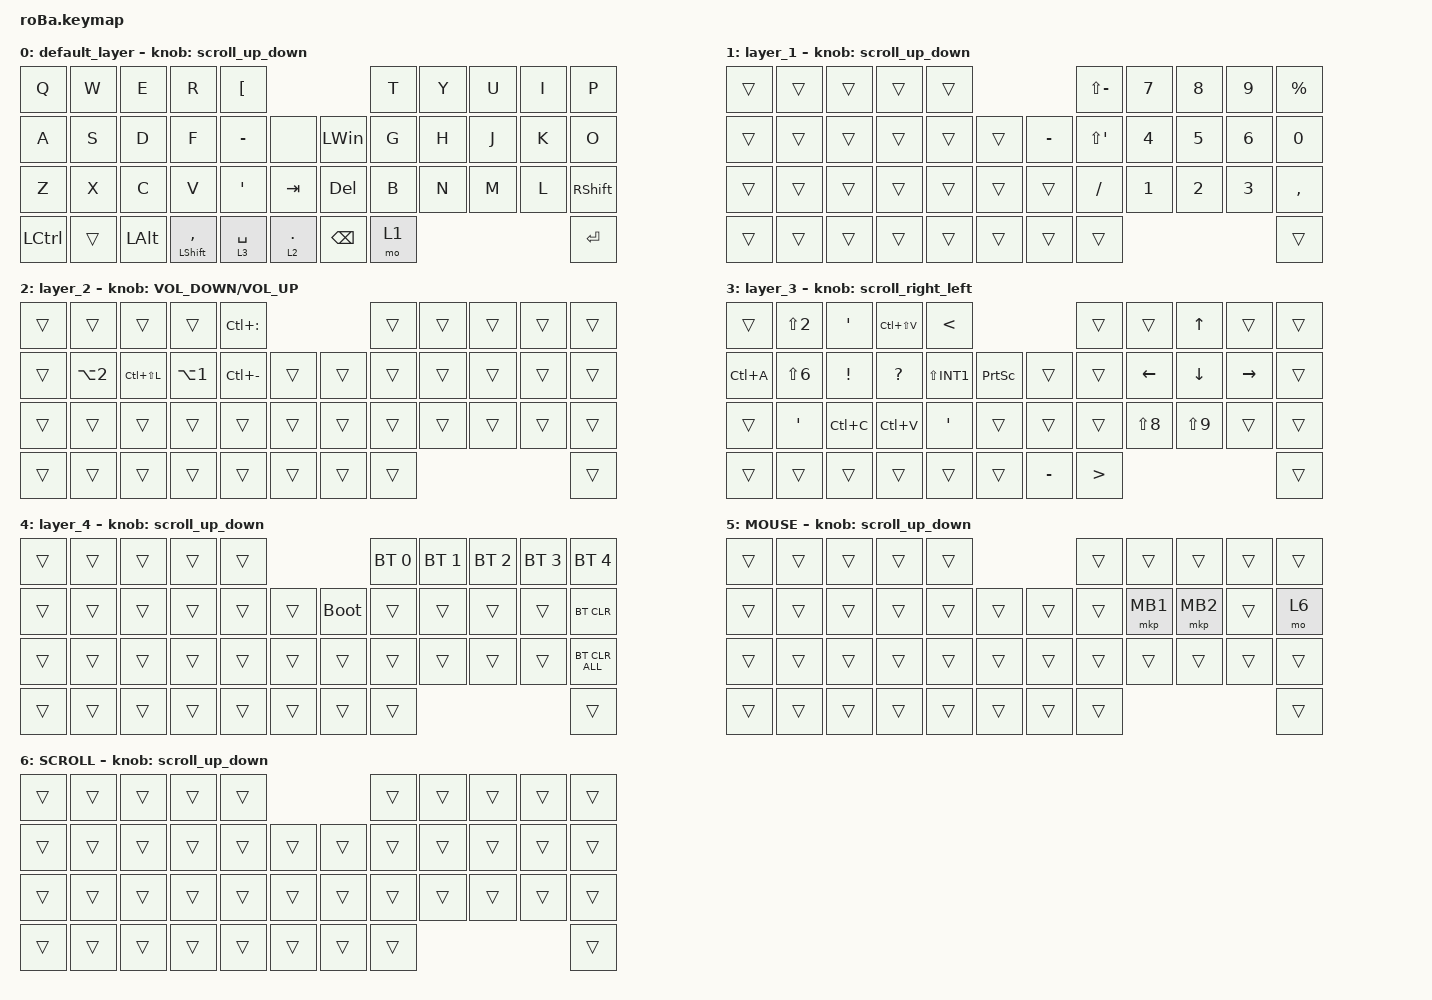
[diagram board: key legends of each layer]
// roBa keymap — moNa2スタイル移植版
// ベース: nukosneon-png/zmk-config-moNa2-v2 の mona2.keymap
// ハード: nukosneon-png/zmk-config-roBa の roBa shield定義
//
// 変更点まとめ:
//   - mt/lt を moNa2 の tap-preferred + タイミングに統一
//   - combo を moNa2 方式 (LANG1/LANG2, Ctrl+Z, ESC, 上下) に移植
//     ※ key-positions は roBa のマトリクスに合わせて再マッピング済み
//   - レイヤー構成を moNa2 の 7層に統一
//   - sensor-bindings を moNa2 のスクロール behavior に統一
//   - trackball の automouse-layer / scroll-layers は roBa 側で必要なので残す

#include <behaviors.dtsi>
#include <dt-bindings/zmk/bt.h>
#include <dt-bindings/zmk/keys.h>
#include <dt-bindings/zmk/pointing.h>

#define ZMK_POINTING_DEFAULT_SCRL_VAL 100
#define MOUSE 5
#define SCROLL 6

// --- moNa2 スタイルの mt/lt 設定 ---

&mt {
    flavor = "tap-preferred";
    quick-tap-ms = <0>;
    tapping-term-ms = <150>;
};

&lt {
    quick-tap-ms = <300>;
    flavor = "tap-preferred";
    tapping-term-ms = <175>;
};

// --- roBa trackball 設定 (ハード依存、変更不可) ---

&trackball {
    automouse-layer = <MOUSE>;
    scroll-layers = <SCROLL>;
};

/ {
    // --- moNa2 マクロ ---

    macros {
        lang1_exit: lang1_exit {
            compatible = "zmk,behavior-macro";
            #binding-cells = <0>;
            bindings = <&kp LANG1 &to 0>;
        };
    };

    // --- moNa2 コンボ (roBa key-positions にリマップ) ---
    //
    // roBa マトリクス (43キー):
    //  Row0:  0  1  2  3  4              5  6  7  8  9
    //  Row1: 10 11 12 13 14 15       16 17 18 19 20 21
    //  Row2: 22 23 24 25 26 27       28 29 30 31 32 33
    //  Row3: 34 35 36 37 38 39       40 41                42

    combos {
        compatible = "zmk,combos";

        // 下矢印: 右手中段 N + M (roBa pos 30,31)

        shita {
            bindings = <&kp DOWN>;
            key-positions = <30 31>;
        };

        // 上矢印: 右手上段 Y + U (roBa pos 5,6)

        ue {
            bindings = <&kp UP_ARROW>;
            key-positions = <6 7>;
        };

        // Ctrl+Z: 左親指外 + H (roBa pos 39,17)

        ctrlz {
            bindings = <&kp LC(Z)>;
            key-positions = <40 18>;
        };

        // Escape: 左親指2つ (roBa pos 38,39)

        escape {
            bindings = <&kp ESCAPE>;
            key-positions = <39 40>;
        };

        // LANG2 (英数): 左手中段 D + F (roBa pos 12,13)

        combo_lang2 {
            bindings = <&kp LANG2>;
            key-positions = <13 12>;
        };

        // LANG1 (かな): 右手中段 J + H (roBa pos 18,17)

        combo_lang1 {
            bindings = <&kp LANG1>;
            key-positions = <18 19>;
            layers = <0>;
        };

        // LANG1 + layer 0 復帰: MOUSE layer 時
    };

    // --- moNa2 スタイルの sensor behaviors ---

    behaviors {
        scroll_up_down: mouse_wheel_up_down {
            compatible = "zmk,behavior-sensor-rotate";
            label = "SCROLL_UP_DOWN";
            #sensor-binding-cells = <0>;
            bindings = <&msc SCRL_DOWN>, <&msc SCRL_UP>;

            tap-ms = <40>;
        };

        scroll_right_left: mouse_wheel_right_left {
            compatible = "zmk,behavior-sensor-rotate";
            label = "SCROLL_RIGHT_LEFT";
            #sensor-binding-cells = <0>;
            bindings = <&msc SCRL_LEFT>, <&msc SCRL_RIGHT>;

            tap-ms = <40>;
        };

        ctrl_zoom: ctrl_zoom {
            compatible = "zmk,behavior-sensor-rotate";
            label = "CTRL_ZOOM";
            #sensor-binding-cells = <0>;
            bindings = <&kp LC(MINUS)>, <&kp LC(EQUAL)>;

            tap-ms = <40>;
        };
    };

    // =================================================================
    // キーマップ: moNa2 レイヤー構成をそのまま roBa に移植
    // =================================================================
    //
    // roBa の各行のキー数:
    //   Row0: 左5 + 右5 = 10
    //   Row1: 左6 + 右6 = 12
    //   Row2: 左6 + 右6 = 12
    //   Row3: 左6 + 右2 + 右端1 = 9

    keymap {
        compatible = "zmk,keymap";

        // Layer 0: Default (moNa2 default_layer)

        default_layer {
            bindings = <
&kp Q      &kp W   &kp E         &kp R                 &kp LBKT                                      &kp T  &kp Y  &kp U  &kp I  &kp P
&kp A      &kp S   &kp D         &kp F                 &kp MINUS    &none             &kp LEFT_WIN   &kp G  &kp H  &kp J  &kp K  &kp O
&kp Z      &kp X   &kp C         &kp V                 &kp SQT      &kp TAB           &kp DELETE     &kp B  &kp N  &kp M  &kp L  &kp RSHFT
&kp LCTRL  &trans  &kp LEFT_ALT  &mt LEFT_SHIFT COMMA  &lt 3 SPACE  &lt 2 PERIOD      &kp BACKSPACE  &mo 1                       &kp ENTER
            >;

            sensor-bindings = <&scroll_up_down>;
        };

        // Layer 1: 数字 (moNa2 layer_1 — 右手テンキー)

        layer_1 {
            bindings = <
&trans  &trans  &trans  &trans  &trans                         &kp LS(MINUS)         &kp NUMBER_7  &kp NUMBER_8  &kp NUMBER_9  &kp PERCENT
&trans  &trans  &trans  &trans  &trans  &trans      &kp MINUS  &kp LS(SINGLE_QUOTE)  &kp NUMBER_4  &kp N5        &kp NUMBER_6  &kp N0
&trans  &trans  &trans  &trans  &trans  &trans      &trans     &kp SLASH             &kp NUMBER_1  &kp NUMBER_2  &kp NUMBER_3  &kp COMMA
&trans  &trans  &trans  &trans  &trans  &trans      &trans     &trans                                                          &trans
            >;

            sensor-bindings = <&scroll_up_down>;
        };

        // Layer 2: ツール (moNa2 layer_2 — Alt+数字, Ctrl+ショートカット)

        layer_2 {
            bindings = <
&trans  &trans            &trans         &trans            &kp LC(COLON)                      &trans  &trans  &trans  &trans  &trans
&trans  &kp LA(NUMBER_2)  &kp LC(LS(L))  &kp LA(NUMBER_1)  &kp LC(MINUS)  &trans      &trans  &trans  &trans  &trans  &trans  &trans
&trans  &trans            &trans         &trans            &trans         &trans      &trans  &trans  &trans  &trans  &trans  &trans
&trans  &trans            &trans         &trans            &trans         &trans      &trans  &trans                          &trans
            >;

            sensor-bindings = <&inc_dec_kp C_VOLUME_DOWN C_VOLUME_UP>;
        };

        // Layer 3: ナビ+記号 (moNa2 layer_3 — 矢印、記号、コピペ)

        layer_3 {
            bindings = <
&trans     &kp LS(N2)  &kp SQT          &kp LC(LS(V))  &kp LESS_THAN                                  &trans            &trans          &kp UP_ARROW    &trans           &trans
&kp LC(A)  &kp LS(N6)  &kp EXCLAMATION  &kp QUESTION   &kp LS(INT1)   &kp PRINTSCREEN      &trans     &trans            &kp LEFT_ARROW  &kp DOWN_ARROW  &kp RIGHT_ARROW  &trans
&trans     &kp SQT     &kp LC(C)        &kp LC(V)      &kp SQT        &trans               &trans     &trans            &kp LS(N8)      &kp LS(N9)      &trans           &trans
&trans     &trans      &trans           &trans         &trans         &trans               &kp MINUS  &kp GREATER_THAN                                                   &trans
            >;

            sensor-bindings = <&scroll_right_left>;
        };

        // Layer 4: BT設定 (moNa2 layer_4)

        layer_4 {
            bindings = <
&trans  &trans  &trans  &trans  &trans                           &bt BT_SEL 0  &bt BT_SEL 1  &bt BT_SEL 2  &bt BT_SEL 3  &bt BT_SEL 4
&trans  &trans  &trans  &trans  &trans  &trans      &bootloader  &trans        &trans        &trans        &trans        &bt BT_CLR
&trans  &trans  &trans  &trans  &trans  &trans      &trans       &trans        &trans        &trans        &trans        &bt BT_CLR_ALL
&trans  &trans  &trans  &trans  &trans  &trans      &trans       &trans                                                  &trans
            >;

            sensor-bindings = <&scroll_up_down>;
        };

        // Layer 5: MOUSE (automouse layer — trackball 操作時に自動切替)

        MOUSE {
            bindings = <
&trans  &trans  &trans  &trans  &trans                      &trans  &trans    &trans    &trans  &trans
&trans  &trans  &trans  &trans  &trans  &trans      &trans  &trans  &mkp MB1  &mkp MB2  &trans  &mo 6
&trans  &trans  &trans  &trans  &trans  &trans      &trans  &trans  &trans    &trans    &trans  &trans
&trans  &trans  &trans  &trans  &trans  &trans      &trans  &trans                              &trans
            >;

            sensor-bindings = <&scroll_up_down>;
        };

        // Layer 6: SCROLL (MOUSE layer から mo で切替)

        SCROLL {
            bindings = <
&trans  &trans  &trans  &trans  &trans                      &trans  &trans  &trans  &trans  &trans
&trans  &trans  &trans  &trans  &trans  &trans      &trans  &trans  &trans  &trans  &trans  &trans
&trans  &trans  &trans  &trans  &trans  &trans      &trans  &trans  &trans  &trans  &trans  &trans
&trans  &trans  &trans  &trans  &trans  &trans      &trans  &trans                          &trans
            >;

            sensor-bindings = <&scroll_up_down>;
        };
    };
};
